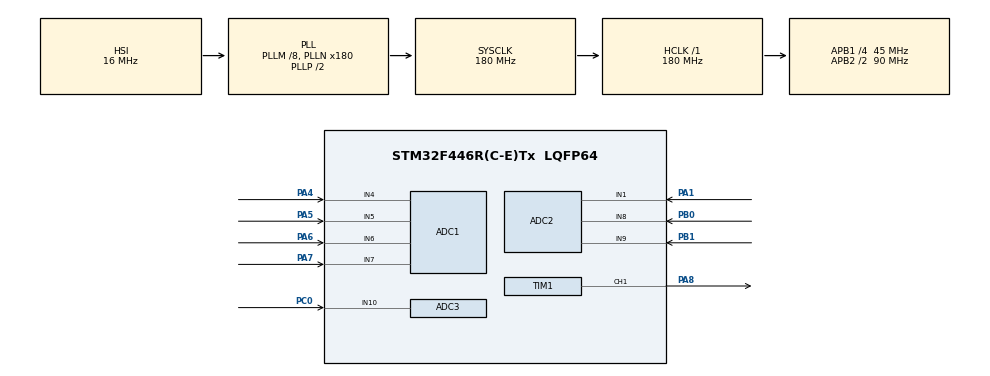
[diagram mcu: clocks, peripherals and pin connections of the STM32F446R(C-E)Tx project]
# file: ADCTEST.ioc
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ADC1.Channel-1\#ChannelRegularConversion=ADC_CHANNEL_4
ADC1.Channel-2\#ChannelRegularConversion=ADC_CHANNEL_5
ADC1.Channel-3\#ChannelRegularConversion=ADC_CHANNEL_6
ADC1.Channel-4\#ChannelRegularConversion=ADC_CHANNEL_7
ADC1.ContinuousConvMode=ENABLE
ADC1.DMAContinuousRequests=ENABLE
ADC1.NbrOfConversion=4
ADC1.NbrOfConversionFlag=1
ADC1.Rank-1\#ChannelRegularConversion=1
ADC1.Rank-2\#ChannelRegularConversion=2
ADC1.Rank-3\#ChannelRegularConversion=3
ADC1.Rank-4\#ChannelRegularConversion=4
ADC1.SamplingTime-1\#ChannelRegularConversion=ADC_SAMPLETIME_28CYCLES
ADC1.SamplingTime-2\#ChannelRegularConversion=ADC_SAMPLETIME_56CYCLES
ADC1.SamplingTime-3\#ChannelRegularConversion=ADC_SAMPLETIME_84CYCLES
ADC1.SamplingTime-4\#ChannelRegularConversion=ADC_SAMPLETIME_112CYCLES
ADC1.master=1
ADC2.Channel-1\#ChannelRegularConversion=ADC_CHANNEL_1
ADC2.Channel-2\#ChannelRegularConversion=ADC_CHANNEL_8
ADC2.Channel-3\#ChannelRegularConversion=ADC_CHANNEL_9
ADC2.ContinuousConvMode=ENABLE
ADC2.DMAContinuousRequests=ENABLE
ADC2.NbrOfConversion=3
ADC2.NbrOfConversionFlag=1
ADC2.Rank-2\#ChannelRegularConversion=2
ADC2.Rank-3\#ChannelRegularConversion=3
ADC2.SamplingTime-1\#ChannelRegularConversion=ADC_SAMPLETIME_15CYCLES
ADC2.SamplingTime-2\#ChannelRegularConversion=ADC_SAMPLETIME_28CYCLES
ADC2.SamplingTime-3\#ChannelRegularConversion=ADC_SAMPLETIME_112CYCLES
ADC3.Channel-2\#ChannelRegularConversion=ADC_CHANNEL_10
ADC3.ContinuousConvMode=ENABLE
ADC3.DMAContinuousRequests=ENABLE
ADC3.NbrOfConversionFlag=1
ADC3.Rank-2\#ChannelRegularConversion=1
ADC3.SamplingTime-2\#ChannelRegularConversion=ADC_SAMPLETIME_480CYCLES
Dma.ADC1.2.Direction=DMA_PERIPH_TO_MEMORY
Dma.ADC1.2.FIFOMode=DMA_FIFOMODE_DISABLE
Dma.ADC1.2.Instance=DMA2_Stream4
Dma.ADC1.2.MemDataAlignment=DMA_MDATAALIGN_HALFWORD
Dma.ADC1.2.MemInc=DMA_MINC_ENABLE
Dma.ADC1.2.Mode=DMA_CIRCULAR
Dma.ADC1.2.PeriphDataAlignment=DMA_PDATAALIGN_HALFWORD
Dma.ADC1.2.PeriphInc=DMA_PINC_DISABLE
Dma.ADC1.2.Priority=DMA_PRIORITY_LOW
Dma.ADC2.0.Direction=DMA_PERIPH_TO_MEMORY
Dma.ADC2.0.FIFOMode=DMA_FIFOMODE_DISABLE
Dma.ADC2.0.Instance=DMA2_Stream2
Dma.ADC2.0.MemDataAlignment=DMA_MDATAALIGN_HALFWORD
Dma.ADC2.0.MemInc=DMA_MINC_ENABLE
Dma.ADC2.0.Mode=DMA_CIRCULAR
Dma.ADC2.0.PeriphDataAlignment=DMA_PDATAALIGN_HALFWORD
Dma.ADC2.0.PeriphInc=DMA_PINC_DISABLE
Dma.ADC2.0.Priority=DMA_PRIORITY_LOW
Dma.ADC3.1.Direction=DMA_PERIPH_TO_MEMORY
Dma.ADC3.1.FIFOMode=DMA_FIFOMODE_DISABLE
Dma.ADC3.1.Instance=DMA2_Stream0
Dma.ADC3.1.MemDataAlignment=DMA_MDATAALIGN_HALFWORD
Dma.ADC3.1.MemInc=DMA_MINC_ENABLE
Dma.ADC3.1.Mode=DMA_CIRCULAR
Dma.ADC3.1.PeriphDataAlignment=DMA_PDATAALIGN_HALFWORD
Dma.ADC3.1.PeriphInc=DMA_PINC_DISABLE
Dma.ADC3.1.Priority=DMA_PRIORITY_LOW
Dma.Request0=ADC2
Dma.Request1=ADC3
Dma.Request2=ADC1
Mcu.Family=STM32F4
Mcu.Name=STM32F446R(C-E)Tx
Mcu.Package=LQFP64
NVIC.DMA2_Stream0_IRQn=true\:0\:0\:false\:false\:true\:false\:true\:true
NVIC.DMA2_Stream2_IRQn=true\:0\:0\:false\:false\:true\:false\:true\:true
NVIC.DMA2_Stream4_IRQn=true\:0\:0\:false\:false\:true\:false\:true\:true
NVIC.PriorityGroup=NVIC_PRIORITYGROUP_0
PA1.Signal=ADCx_IN1
PA4.Signal=ADCx_IN4
PA5.Signal=ADCx_IN5
PA6.Signal=ADCx_IN6
PA7.Signal=ADCx_IN7
PA8.Signal=S_TIM1_CH1
PB0.Signal=ADCx_IN8
PB1.Signal=ADCx_IN9
PC0.Signal=ADCx_IN10
ProjectManager.HeapSize=0x200
ProjectManager.StackSize=0x400
ProjectManager.TargetToolchain=STM32CubeIDE
RCC.48MHZClocksFreq_Value=84000000
RCC.AHBFreq_Value=180000000
RCC.APB1CLKDivider=RCC_HCLK_DIV4
RCC.APB1Freq_Value=45000000
RCC.APB1TimFreq_Value=90000000
RCC.APB2CLKDivider=RCC_HCLK_DIV2
RCC.APB2Freq_Value=90000000
RCC.APB2TimFreq_Value=180000000
RCC.CortexFreq_Value=180000000
RCC.FLatency-AdvancedSettings=FLASH_LATENCY_5
RCC.HCLKFreq_Value=180000000
RCC.HSE_VALUE=8000000
RCC.HSI_VALUE=16000000
RCC.PLLM=8
RCC.PLLN=180
RCC.SYSCLKFreq_VALUE=180000000
RCC.SYSCLKSource=RCC_SYSCLKSOURCE_PLLCLK
RCC.USBFreq_Value=180000000
RCC.VCOOutputFreq_Value=360000000
SH.ADCx_IN1.0=ADC2_IN1,IN1
SH.ADCx_IN10.0=ADC3_IN10,IN10
SH.ADCx_IN4.0=ADC1_IN4,IN4
SH.ADCx_IN5.0=ADC1_IN5,IN5
SH.ADCx_IN6.0=ADC1_IN6,IN6
SH.ADCx_IN7.0=ADC1_IN7,IN7
SH.ADCx_IN8.0=ADC2_IN8,IN8
SH.ADCx_IN9.0=ADC2_IN9,IN9
SH.S_TIM1_CH1.0=TIM1_CH1,PWM Generation1 CH1
TIM1.Channel-PWM\ Generation1\ CH1=TIM_CHANNEL_1
TIM1.Period=100
TIM1.Prescaler=180
VP_TIM1_VS_ClockSourceINT.Mode=Internal
board=NUCLEO-F446RE

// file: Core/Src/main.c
/* USER CODE BEGIN Header */
/**
  ******************************************************************************
  * @file           : main.c
  * @brief          : Main program body
  ******************************************************************************
  * @attention
  *
  * Copyright (c) 2024 STMicroelectronics.
  * All rights reserved.
  *
  * This software is licensed under terms that can be found in the LICENSE file
  * in the root directory of this software component.
  * If no LICENSE file comes with this software, it is provided AS-IS.
  *
  ******************************************************************************
  */
/* USER CODE END Header */
#include "main.h"

/* USER CODE BEGIN PD */

uint32_t courant1;// TENSION VIA LE CAPTEUR
uint32_t courant2;// TENSION VIA LE CAPTEUR
uint32_t courant3;// TENSION VIA LE CAPTEUR
uint16_t buffer1[4];
uint16_t buffer2[3];
uint16_t buffer3[1];
int r;
/* USER CODE END PD */

ADC_HandleTypeDef hadc1;
ADC_HandleTypeDef hadc2;
ADC_HandleTypeDef hadc3;
DMA_HandleTypeDef hdma_adc1;
DMA_HandleTypeDef hdma_adc2;
DMA_HandleTypeDef hdma_adc3;

TIM_HandleTypeDef htim1;

void SystemClock_Config(void);
static void MX_GPIO_Init(void);
static void MX_DMA_Init(void);
static void MX_ADC2_Init(void);
static void MX_ADC3_Init(void);
static void MX_ADC1_Init(void);
static void MX_TIM1_Init(void);
/* USER CODE BEGIN PFP */
void HAL_ADC_ConvCpltCallback(ADC_HandleTypeDef* hadc)
{
    if (hadc->Instance == ADC3)
    {
        // Traitement pour ADC3
        courant1 = HAL_ADC_GetValue(&hadc3) * 20.5 / 4096;
        // Redémarrer la conversion pour ADC3
        HAL_ADC_Start_IT(&hadc3);
    }
    else if (hadc->Instance == ADC2)
    {
        // Traitement pour ADC2
     r=buffer2[0]/35;
     //HAL_Delay(1000);// Redémarrer la conversion pour ADC2
       // HAL_ADC_Start_IT(&hadc2);
    }
    else if (hadc->Instance == ADC1)
        {
            // Traitement pour ADC2
            // Redémarrer la conversion pour ADC2
           // HAL_ADC_Start_IT(&hadc1);
        }
}

/* USER CODE END PFP */

int main(void)
{

  /* MCU Configuration--------------------------------------------------------*/

  /* Reset of all peripherals, Initializes the Flash interface and the Systick. */
  HAL_Init();

  /* Configure the system clock */
  SystemClock_Config();

  /* Initialize all configured peripherals */
  MX_GPIO_Init();
  MX_DMA_Init();
  MX_ADC2_Init();
  MX_ADC3_Init();
  MX_ADC1_Init();
  MX_TIM1_Init();
  /* USER CODE BEGIN 2 */
  HAL_ADC_Start_DMA(&hadc2,(uint32_t *)&buffer2, 3);
  HAL_ADC_Start_DMA(&hadc3,(uint32_t *)&buffer3, 1);
  HAL_ADC_Start_DMA(&hadc1,(uint32_t *)&buffer1, 4);
	HAL_TIM_PWM_Start(&htim1, TIM_CHANNEL_1);//MT1
 //HAL_ADC_Start_IT(&hadc2);
 //HAL_ADC_Start_IT(&hadc3);
 //HAL_ADC_Start_IT(&hadc1);

  /* USER CODE END 2 */

  /* Infinite loop */
  while (1)
  {
TIM1->CCR1=r;
  }
}

void SystemClock_Config(void)
{
  RCC_OscInitTypeDef RCC_OscInitStruct = {0};
  RCC_ClkInitTypeDef RCC_ClkInitStruct = {0};

  /** Configure the main internal regulator output voltage
  */
  __HAL_RCC_PWR_CLK_ENABLE();
  __HAL_PWR_VOLTAGESCALING_CONFIG(PWR_REGULATOR_VOLTAGE_SCALE1);

  /** Initializes the RCC Oscillators according to the specified parameters
  * in the RCC_OscInitTypeDef structure.
  */
  RCC_OscInitStruct.OscillatorType = RCC_OSCILLATORTYPE_HSI;
  RCC_OscInitStruct.HSIState = RCC_HSI_ON;
  RCC_OscInitStruct.HSICalibrationValue = RCC_HSICALIBRATION_DEFAULT;
  RCC_OscInitStruct.PLL.PLLState = RCC_PLL_ON;
  RCC_OscInitStruct.PLL.PLLSource = RCC_PLLSOURCE_HSI;
  RCC_OscInitStruct.PLL.PLLM = 8;
  RCC_OscInitStruct.PLL.PLLN = 180;
  RCC_OscInitStruct.PLL.PLLP = RCC_PLLP_DIV2;
  RCC_OscInitStruct.PLL.PLLQ = 2;
  RCC_OscInitStruct.PLL.PLLR = 2;
  if (HAL_RCC_OscConfig(&RCC_OscInitStruct) != HAL_OK)
  {
    Error_Handler();
  }

  /** Activate the Over-Drive mode
  */
  if (HAL_PWREx_EnableOverDrive() != HAL_OK)
  {
    Error_Handler();
  }

  /** Initializes the CPU, AHB and APB buses clocks
  */
  RCC_ClkInitStruct.ClockType = RCC_CLOCKTYPE_HCLK|RCC_CLOCKTYPE_SYSCLK
                              |RCC_CLOCKTYPE_PCLK1|RCC_CLOCKTYPE_PCLK2;
  RCC_ClkInitStruct.SYSCLKSource = RCC_SYSCLKSOURCE_PLLCLK;
  RCC_ClkInitStruct.AHBCLKDivider = RCC_SYSCLK_DIV1;
  RCC_ClkInitStruct.APB1CLKDivider = RCC_HCLK_DIV4;
  RCC_ClkInitStruct.APB2CLKDivider = RCC_HCLK_DIV2;

  if (HAL_RCC_ClockConfig(&RCC_ClkInitStruct, FLASH_LATENCY_5) != HAL_OK)
  {
    Error_Handler();
  }
}

static void MX_ADC1_Init(void)
{

  ADC_ChannelConfTypeDef sConfig = {0};

  /** Configure the global features of the ADC (Clock, Resolution, Data Alignment and number of conversion)
  */
  hadc1.Instance = ADC1;
  hadc1.Init.ClockPrescaler = ADC_CLOCK_SYNC_PCLK_DIV4;
  hadc1.Init.Resolution = ADC_RESOLUTION_12B;
  hadc1.Init.ScanConvMode = ENABLE;
  hadc1.Init.ContinuousConvMode = ENABLE;
  hadc1.Init.DiscontinuousConvMode = DISABLE;
  hadc1.Init.ExternalTrigConvEdge = ADC_EXTERNALTRIGCONVEDGE_NONE;
  hadc1.Init.ExternalTrigConv = ADC_SOFTWARE_START;
  hadc1.Init.DataAlign = ADC_DATAALIGN_RIGHT;
  hadc1.Init.NbrOfConversion = 4;
  hadc1.Init.DMAContinuousRequests = ENABLE;
  hadc1.Init.EOCSelection = ADC_EOC_SINGLE_CONV;
  if (HAL_ADC_Init(&hadc1) != HAL_OK)
  {
    Error_Handler();
  }

  /** Configure for the selected ADC regular channel its corresponding rank in the sequencer and its sample time.
  */
  sConfig.Channel = ADC_CHANNEL_4;
  sConfig.Rank = 1;
  sConfig.SamplingTime = ADC_SAMPLETIME_28CYCLES;
  if (HAL_ADC_ConfigChannel(&hadc1, &sConfig) != HAL_OK)
  {
    Error_Handler();
  }

  /** Configure for the selected ADC regular channel its corresponding rank in the sequencer and its sample time.
  */
  sConfig.Channel = ADC_CHANNEL_5;
  sConfig.Rank = 2;
  sConfig.SamplingTime = ADC_SAMPLETIME_56CYCLES;
  if (HAL_ADC_ConfigChannel(&hadc1, &sConfig) != HAL_OK)
  {
    Error_Handler();
  }

  /** Configure for the selected ADC regular channel its corresponding rank in the sequencer and its sample time.
  */
  sConfig.Channel = ADC_CHANNEL_6;
  sConfig.Rank = 3;
  sConfig.SamplingTime = ADC_SAMPLETIME_84CYCLES;
  if (HAL_ADC_ConfigChannel(&hadc1, &sConfig) != HAL_OK)
  {
    Error_Handler();
  }

  /** Configure for the selected ADC regular channel its corresponding rank in the sequencer and its sample time.
  */
  sConfig.Channel = ADC_CHANNEL_7;
  sConfig.Rank = 4;
  sConfig.SamplingTime = ADC_SAMPLETIME_112CYCLES;
  if (HAL_ADC_ConfigChannel(&hadc1, &sConfig) != HAL_OK)
  {
    Error_Handler();
  }

}

static void MX_ADC2_Init(void)
{

  ADC_ChannelConfTypeDef sConfig = {0};

  /** Configure the global features of the ADC (Clock, Resolution, Data Alignment and number of conversion)
  */
  hadc2.Instance = ADC2;
  hadc2.Init.ClockPrescaler = ADC_CLOCK_SYNC_PCLK_DIV4;
  hadc2.Init.Resolution = ADC_RESOLUTION_12B;
  hadc2.Init.ScanConvMode = ENABLE;
  hadc2.Init.ContinuousConvMode = ENABLE;
  hadc2.Init.DiscontinuousConvMode = DISABLE;
  hadc2.Init.ExternalTrigConvEdge = ADC_EXTERNALTRIGCONVEDGE_NONE;
  hadc2.Init.ExternalTrigConv = ADC_SOFTWARE_START;
  hadc2.Init.DataAlign = ADC_DATAALIGN_RIGHT;
  hadc2.Init.NbrOfConversion = 3;
  hadc2.Init.DMAContinuousRequests = ENABLE;
  hadc2.Init.EOCSelection = ADC_EOC_SINGLE_CONV;
  if (HAL_ADC_Init(&hadc2) != HAL_OK)
  {
    Error_Handler();
  }

  /** Configure for the selected ADC regular channel its corresponding rank in the sequencer and its sample time.
  */
  sConfig.Channel = ADC_CHANNEL_1;
  sConfig.Rank = 1;
  sConfig.SamplingTime = ADC_SAMPLETIME_15CYCLES;
  if (HAL_ADC_ConfigChannel(&hadc2, &sConfig) != HAL_OK)
  {
    Error_Handler();
  }

  /** Configure for the selected ADC regular channel its corresponding rank in the sequencer and its sample time.
  */
  sConfig.Channel = ADC_CHANNEL_8;
  sConfig.Rank = 2;
  sConfig.SamplingTime = ADC_SAMPLETIME_28CYCLES;
  if (HAL_ADC_ConfigChannel(&hadc2, &sConfig) != HAL_OK)
  {
    Error_Handler();
  }

  /** Configure for the selected ADC regular channel its corresponding rank in the sequencer and its sample time.
  */
  sConfig.Channel = ADC_CHANNEL_9;
  sConfig.Rank = 3;
  sConfig.SamplingTime = ADC_SAMPLETIME_112CYCLES;
  if (HAL_ADC_ConfigChannel(&hadc2, &sConfig) != HAL_OK)
  {
    Error_Handler();
  }

}

static void MX_ADC3_Init(void)
{

  ADC_ChannelConfTypeDef sConfig = {0};

  /** Configure the global features of the ADC (Clock, Resolution, Data Alignment and number of conversion)
  */
  hadc3.Instance = ADC3;
  hadc3.Init.ClockPrescaler = ADC_CLOCK_SYNC_PCLK_DIV4;
  hadc3.Init.Resolution = ADC_RESOLUTION_12B;
  hadc3.Init.ScanConvMode = DISABLE;
  hadc3.Init.ContinuousConvMode = ENABLE;
  hadc3.Init.DiscontinuousConvMode = DISABLE;
  hadc3.Init.ExternalTrigConvEdge = ADC_EXTERNALTRIGCONVEDGE_NONE;
  hadc3.Init.ExternalTrigConv = ADC_SOFTWARE_START;
  hadc3.Init.DataAlign = ADC_DATAALIGN_RIGHT;
  hadc3.Init.NbrOfConversion = 1;
  hadc3.Init.DMAContinuousRequests = ENABLE;
  hadc3.Init.EOCSelection = ADC_EOC_SINGLE_CONV;
  if (HAL_ADC_Init(&hadc3) != HAL_OK)
  {
    Error_Handler();
  }

  /** Configure for the selected ADC regular channel its corresponding rank in the sequencer and its sample time.
  */
  sConfig.Channel = ADC_CHANNEL_10;
  sConfig.Rank = 1;
  sConfig.SamplingTime = ADC_SAMPLETIME_480CYCLES;
  if (HAL_ADC_ConfigChannel(&hadc3, &sConfig) != HAL_OK)
  {
    Error_Handler();
  }

}

static void MX_TIM1_Init(void)
{

  TIM_ClockConfigTypeDef sClockSourceConfig = {0};
  TIM_MasterConfigTypeDef sMasterConfig = {0};
  TIM_OC_InitTypeDef sConfigOC = {0};
  TIM_BreakDeadTimeConfigTypeDef sBreakDeadTimeConfig = {0};

  htim1.Instance = TIM1;
  htim1.Init.Prescaler = 180;
  htim1.Init.CounterMode = TIM_COUNTERMODE_UP;
  htim1.Init.Period = 100;
  htim1.Init.ClockDivision = TIM_CLOCKDIVISION_DIV1;
  htim1.Init.RepetitionCounter = 0;
  htim1.Init.AutoReloadPreload = TIM_AUTORELOAD_PRELOAD_DISABLE;
  if (HAL_TIM_Base_Init(&htim1) != HAL_OK)
  {
    Error_Handler();
  }
  sClockSourceConfig.ClockSource = TIM_CLOCKSOURCE_INTERNAL;
  if (HAL_TIM_ConfigClockSource(&htim1, &sClockSourceConfig) != HAL_OK)
  {
    Error_Handler();
  }
  if (HAL_TIM_PWM_Init(&htim1) != HAL_OK)
  {
    Error_Handler();
  }
  sMasterConfig.MasterOutputTrigger = TIM_TRGO_RESET;
  sMasterConfig.MasterSlaveMode = TIM_MASTERSLAVEMODE_DISABLE;
  if (HAL_TIMEx_MasterConfigSynchronization(&htim1, &sMasterConfig) != HAL_OK)
  {
    Error_Handler();
  }
  sConfigOC.OCMode = TIM_OCMODE_PWM1;
  sConfigOC.Pulse = 0;
  sConfigOC.OCPolarity = TIM_OCPOLARITY_HIGH;
  sConfigOC.OCNPolarity = TIM_OCNPOLARITY_HIGH;
  sConfigOC.OCFastMode = TIM_OCFAST_DISABLE;
  sConfigOC.OCIdleState = TIM_OCIDLESTATE_RESET;
  sConfigOC.OCNIdleState = TIM_OCNIDLESTATE_RESET;
  if (HAL_TIM_PWM_ConfigChannel(&htim1, &sConfigOC, TIM_CHANNEL_1) != HAL_OK)
  {
    Error_Handler();
  }
  sBreakDeadTimeConfig.OffStateRunMode = TIM_OSSR_DISABLE;
  sBreakDeadTimeConfig.OffStateIDLEMode = TIM_OSSI_DISABLE;
  sBreakDeadTimeConfig.LockLevel = TIM_LOCKLEVEL_OFF;
  sBreakDeadTimeConfig.DeadTime = 0;
  sBreakDeadTimeConfig.BreakState = TIM_BREAK_DISABLE;
  sBreakDeadTimeConfig.BreakPolarity = TIM_BREAKPOLARITY_HIGH;
  sBreakDeadTimeConfig.AutomaticOutput = TIM_AUTOMATICOUTPUT_DISABLE;
  if (HAL_TIMEx_ConfigBreakDeadTime(&htim1, &sBreakDeadTimeConfig) != HAL_OK)
  {
    Error_Handler();
  }
  HAL_TIM_MspPostInit(&htim1);

}

static void MX_DMA_Init(void)
{

  /* DMA controller clock enable */
  __HAL_RCC_DMA2_CLK_ENABLE();

  /* DMA interrupt init */
  /* DMA2_Stream0_IRQn interrupt configuration */
  HAL_NVIC_SetPriority(DMA2_Stream0_IRQn, 0, 0);
  HAL_NVIC_EnableIRQ(DMA2_Stream0_IRQn);
  /* DMA2_Stream2_IRQn interrupt configuration */
  HAL_NVIC_SetPriority(DMA2_Stream2_IRQn, 0, 0);
  HAL_NVIC_EnableIRQ(DMA2_Stream2_IRQn);
  /* DMA2_Stream4_IRQn interrupt configuration */
  HAL_NVIC_SetPriority(DMA2_Stream4_IRQn, 0, 0);
  HAL_NVIC_EnableIRQ(DMA2_Stream4_IRQn);

}

static void MX_GPIO_Init(void)
{

  /* GPIO Ports Clock Enable */
  __HAL_RCC_GPIOC_CLK_ENABLE();
  __HAL_RCC_GPIOA_CLK_ENABLE();
  __HAL_RCC_GPIOB_CLK_ENABLE();

}

void Error_Handler(void)
{
  __disable_irq();
  while (1)
  {
  }
}
